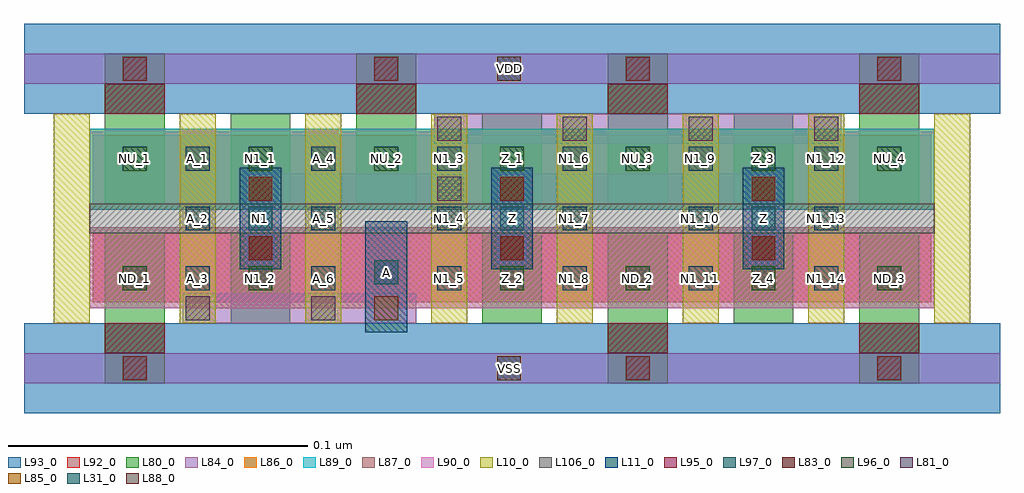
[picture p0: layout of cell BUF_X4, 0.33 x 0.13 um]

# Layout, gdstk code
import gdstk
lib = gdstk.Library(unit=1e-6, precision=1e-09)
def R(c, l, rs):  # rectangles x0, y0, x1, y1
    for r in rs: c.add(gdstk.rectangle(r[:2], r[2:], *l))
def A(c, l, x, y, w, h, nx, ny, dx, dy):  # array of equal rectangles
    R(c, l, [(x+i*dx, y+j*dy, x+i*dx+w, y+j*dy+h) for i in range(nx) for j in range(ny)])
L10_0 = (10, 0)
L11_0 = (11, 0)
L31_0 = (31, 0)
L80_0 = (80, 0)
L81_0 = (81, 0)
L83_0 = (83, 0)
L84_0 = (84, 0)
L85_0 = (85, 0)
L86_0 = (86, 0)
L87_0 = (87, 0)
L88_0 = (88, 0)
L89_0 = (89, 0)
L90_0 = (90, 0)
L92_0 = (92, 0)
L93_0 = (93, 0)
L95_0 = (95, 0)
L96_0 = (96, 0)
L97_0 = (97, 0)
L106_0 = (106, 0)

buf_x4 = lib.new_cell('BUF_X4')
A(buf_x4, L10_0, -0.027, 0.015, 0.012, 0.07, 8, 1, 0.042, 0)
A(buf_x4, L11_0, 0.035, 0.033, 0.014, 0.034, 3, 1, 0.084, 0)
R(buf_x4, L11_0, [(0.077,0.012,0.091,0.049)])
A(buf_x4, L31_0, 0.038, 0.046, 0.008, 0.008, 3, 1, 0.084, 0)
R(buf_x4, L31_0, [(0.08,0.028,0.088,0.036)])
A(buf_x4, L80_0, 0.116, 0.015, 0.02, 0.03, 4, 1, 0.042, 0)
A(buf_x4, L80_0, -0.01, 0.055, 0.02, 0.03, 7, 1, 0.042, 0)
A(buf_x4, L80_0, -0.01, 0.075, 0.02, 0.03, 4, 1, 0.084, 0)
R(buf_x4, L80_0, [(-0.01,-0.005,0.01,0.025), (0.158,-0.005,0.178,0.025), (0.242,-0.005,0.262,0.025), (-0.01,0.015,0.01,0.045), (0.032,0.015,0.052,0.045)])
A(buf_x4, L81_0, 0.101, 0.076, 0.008, 0.008, 4, 1, 0.042, 0)
R(buf_x4, L81_0, [(0.017,0.016,0.025,0.024), (0.059,0.016,0.067,0.024), (0.101,0.056,0.109,0.064)])
A(buf_x4, L83_0, 0.038, 0.036, 0.008, 0.008, 3, 2, 0.084, 0.02)
A(buf_x4, L83_0, -0.004, 0.096, 0.008, 0.008, 4, 1, 0.084, 0)
R(buf_x4, L83_0, [(-0.004,-0.004,0.004,0.004), (0.164,-0.004,0.172,0.004), (0.248,-0.004,0.256,0.004)])
A(buf_x4, L84_0, 0.037, 0.035, 0.01, 0.01, 3, 1, 0.084, 0)
A(buf_x4, L84_0, 0.037, 0.055, 0.031, 0.01, 3, 1, 0.021, 0)
A(buf_x4, L84_0, 0.121, 0.055, 0.031, 0.01, 4, 1, 0.021, 0)
A(buf_x4, L84_0, 0.1, 0.075, 0.031, 0.01, 6, 1, 0.021, 0)
R(buf_x4, L84_0, [(-0.037,-0.005,0.289,0.005), (0.016,0.015,0.047,0.025), (0.037,0.015,0.094,0.025), (-0.037,0.095,0.289,0.105)])
A(buf_x4, L85_0, 0.038, 0.036, 0.008, 0.008, 3, 2, 0.084, 0.02)
R(buf_x4, L85_0, [(0.08,0.016,0.088,0.024)])
R(buf_x4, L86_0, [(-0.015,0.053,0.267,0.08)])
R(buf_x4, L87_0, [(-0.015,0.02,0.267,0.047)])
R(buf_x4, L88_0, [(0.121,-0.004,0.129,0.004), (0.121,0.096,0.129,0.104)])
R(buf_x4, L89_0, [(-0.015,0.053,0.267,0.08)])
R(buf_x4, L90_0, [(-0.015,0.02,0.267,0.047)])
R(buf_x4, L92_0, [(-0.014,0.022,0.266,0.045), (-0.014,0.055,0.266,0.078)])
R(buf_x4, L93_0, [(-0.037,-0.015,0.289,0.015), (-0.037,0.085,0.289,0.115)])
A(buf_x4, L95_0, -0.01, 0.085, 0.02, 0.01, 4, 1, 0.084, 0)
R(buf_x4, L95_0, [(-0.01,0.005,0.01,0.015), (0.158,0.005,0.178,0.015), (0.242,0.005,0.262,0.015)])
A(buf_x4, L96_0, 0.122, 0.026, 0.008, 0.008, 4, 1, 0.042, 0)
A(buf_x4, L96_0, -0.004, 0.066, 0.008, 0.008, 7, 1, 0.042, 0)
R(buf_x4, L96_0, [(-0.004,0.026,0.004,0.034), (0.038,0.026,0.046,0.034)])
A(buf_x4, L97_0, 0.017, 0.026, 0.008, 0.008, 6, 3, 0.042, 0.02)
R(buf_x4, L106_0, [(-0.015,0.045,0.267,0.055)])
buf_x4.add(gdstk.Label('ND_3', (0.252,0.03), layer=96, texttype=0))
buf_x4.add(gdstk.Label('NU_4', (0.252,0.07), layer=96, texttype=0))
buf_x4.add(gdstk.Label('Z_4', (0.21,0.03), layer=96, texttype=0))
buf_x4.add(gdstk.Label('Z_3', (0.21,0.07), layer=96, texttype=0))
buf_x4.add(gdstk.Label('ND_2', (0.168,0.03), layer=96, texttype=0))
buf_x4.add(gdstk.Label('NU_3', (0.168,0.07), layer=96, texttype=0))
buf_x4.add(gdstk.Label('Z_2', (0.126,0.03), layer=96, texttype=0))
buf_x4.add(gdstk.Label('Z_1', (0.126,0.07), layer=96, texttype=0))
buf_x4.add(gdstk.Label('NU_2', (0.084,0.07), layer=96, texttype=0))
buf_x4.add(gdstk.Label('ND_1', (0,0.03), layer=96, texttype=0))
buf_x4.add(gdstk.Label('N1_2', (0.042,0.03), layer=96, texttype=0))
buf_x4.add(gdstk.Label('N1_1', (0.042,0.07), layer=96, texttype=0))
buf_x4.add(gdstk.Label('NU_1', (0,0.07), layer=96, texttype=0))
buf_x4.add(gdstk.Label('N1_12', (0.231,0.07), layer=97, texttype=0))
buf_x4.add(gdstk.Label('N1_13', (0.231,0.05), layer=97, texttype=0))
buf_x4.add(gdstk.Label('N1_14', (0.231,0.03), layer=97, texttype=0))
buf_x4.add(gdstk.Label('N1_9', (0.189,0.07), layer=97, texttype=0))
buf_x4.add(gdstk.Label('N1_10', (0.189,0.05), layer=97, texttype=0))
buf_x4.add(gdstk.Label('N1_11', (0.189,0.03), layer=97, texttype=0))
buf_x4.add(gdstk.Label('N1_6', (0.147,0.07), layer=97, texttype=0))
buf_x4.add(gdstk.Label('N1_7', (0.147,0.05), layer=97, texttype=0))
buf_x4.add(gdstk.Label('N1_8', (0.147,0.03), layer=97, texttype=0))
buf_x4.add(gdstk.Label('N1_3', (0.105,0.07), layer=97, texttype=0))
buf_x4.add(gdstk.Label('N1_4', (0.105,0.05), layer=97, texttype=0))
buf_x4.add(gdstk.Label('N1_5', (0.105,0.03), layer=97, texttype=0))
buf_x4.add(gdstk.Label('A_6', (0.063,0.03), layer=97, texttype=0))
buf_x4.add(gdstk.Label('A_3', (0.021,0.03), layer=97, texttype=0))
buf_x4.add(gdstk.Label('A_4', (0.063,0.07), layer=97, texttype=0))
buf_x4.add(gdstk.Label('A_5', (0.063,0.05), layer=97, texttype=0))
buf_x4.add(gdstk.Label('A_2', (0.021,0.05), layer=97, texttype=0))
buf_x4.add(gdstk.Label('A_1', (0.021,0.07), layer=97, texttype=0))
buf_x4.add(gdstk.Label('A', (0.084,0.032), layer=31, texttype=0))
buf_x4.add(gdstk.Label('Z', (0.21,0.05), layer=31, texttype=0))
buf_x4.add(gdstk.Label('Z', (0.126,0.05), layer=31, texttype=0))
buf_x4.add(gdstk.Label('N1', (0.042,0.05), layer=31, texttype=0))
buf_x4.add(gdstk.Label('VDD', (0.125,0.1), layer=88, texttype=0))
buf_x4.add(gdstk.Label('VSS', (0.125,0), layer=88, texttype=0))

lib.write_gds('BUF_X4.gds')
